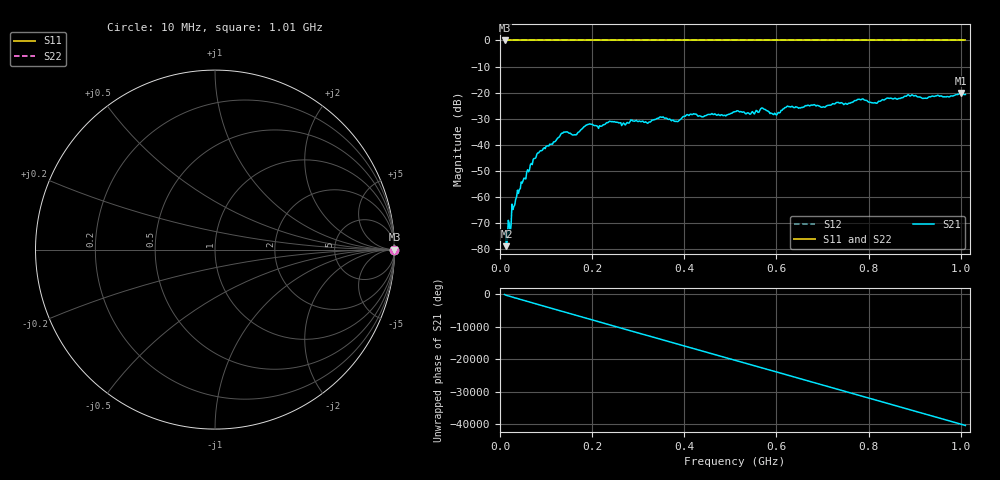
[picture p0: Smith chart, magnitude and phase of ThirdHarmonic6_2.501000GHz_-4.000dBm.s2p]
! 8/17/2025 4:47:44 AM
! C:\ANRITSUVNA\TEMP\TEMP.S2P
! CHANNEL.1
! TR.MEASUREMENT
! RAW.DATA
! RF.CORRECTION.OFF
! AVERAGING.OFF
! IF.BANDWIDTH: 5KHZ
! SWEEPTYPE:  FREQ.SWEEP(Linear)
! Reference Plane Port Info
! PORT:  PORT1  PORT2
! DISTANCE:  0  m  0  m
! TIME:  0  s  0  s
! PHASE.OFFSET:  0  deg.  0  deg.
! LOSS:  0  dB  0  dB
! REF.LOSS:  0  dB  0  dB
! REF.FREQ:  0  Hz  0  Hz
! Power Info
! POWER:  -20  dBm  -20  dBm
! EFF.POWER:  -20  dBm  -20  dBm
! SOURCE.ATTEN:  0  dB  0  dB
! TEST.ATTEN:  0  dB  0  dB
# GHZ S RI R 50.0
! FREQ.GHZ  S11RE  S11IM  S21RE  S21IM  S12RE  S12IM  S22RE  S22IM
!; PortSelection: Port_12
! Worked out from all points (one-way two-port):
!   501 points, 10 MHz to 1.01 GHz, reference 50 ohm
!   highest |S21| = -20.12 dB at 1 GHz (marker M1); lowest = -79.0 dB at 14 MHz (marker M2)
!   lowest |S11| = 0.0 dB at 10 MHz (marker M3)
!   |S11| at or under -10 dB: nowhere
!   |S22| runs from 0.0 to 0.0 dB; largest |S21 - S12| = 1.1
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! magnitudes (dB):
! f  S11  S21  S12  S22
! 10 MHz  0.0  -73.7  0.0  0.0
! 14 MHz  0.0  -79.0  0.0  0.0
! 18 MHz  0.0  -69.0  0.0  0.0
! 30 MHz  0.0  -63.8  0.0  0.0
! 42 MHz  0.0  -57.2  0.0  0.0
! 84 MHz  0.0  -43.2  0.0  0.0
! 136 MHz  0.0  -35.6  0.0  0.0
! 162 MHz  0.0  -36.2  0.0  0.0
! 178 MHz  0.0  -33.9  0.0  0.0
! 344 MHz  0.0  -29.9  0.0  0.0
! 382 MHz  0.0  -31.0  0.0  0.0
! 410 MHz  0.0  -28.8  0.0  0.0
! 510 MHz  0.0  -27.3  0.0  0.0
! 570 MHz  0.0  -26.0  0.0  0.0
! 598 MHz  0.0  -28.3  0.0  0.0
! 622 MHz  0.0  -25.5  0.0  0.0
! 678 MHz  0.0  -24.8  0.0  0.0
! 784 MHz  0.0  -22.7  0.0  0.0
! 814 MHz  0.0  -23.9  0.0  0.0
! 844 MHz  0.0  -22.2  0.0  0.0
! 1 GHz  0.0  -20.1  0.0  0.0
! 1.01 GHz  0.0  -20.7  0.0  0.0
